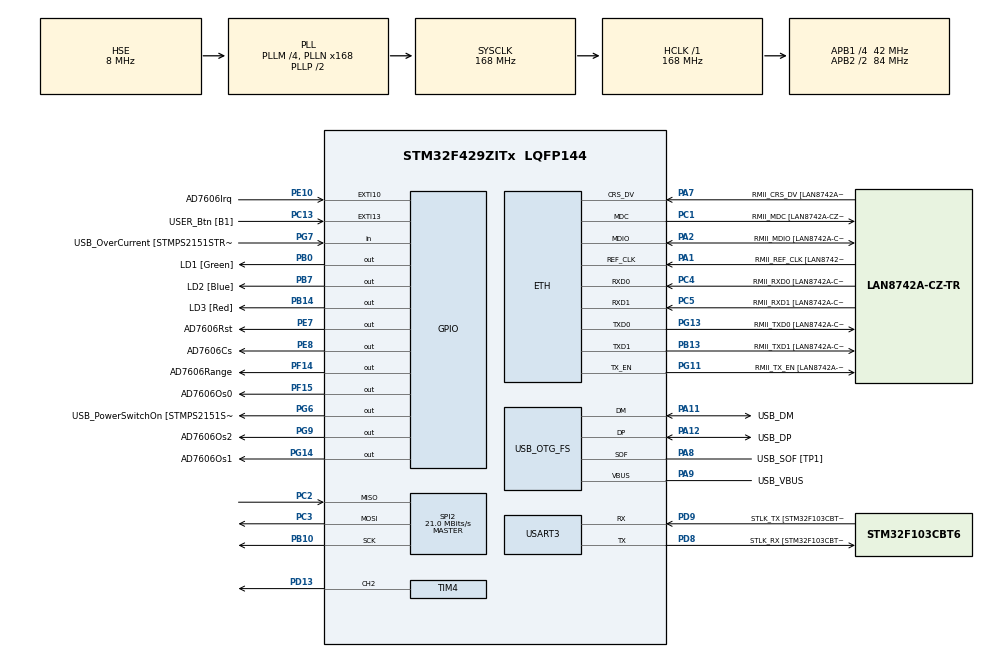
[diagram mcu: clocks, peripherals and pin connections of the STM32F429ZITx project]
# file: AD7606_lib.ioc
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ETH.MediaInterface=HAL_ETH_RMII_MODE
ETH.PHY_Name=LAN8742A_PHY_ADDRESS
ETH.PHY_Value=0
ETH.PhyAddress=0
Mcu.Family=STM32F4
Mcu.Name=STM32F429ZITx
Mcu.Package=LQFP144
NVIC.EXTI15_10_IRQn=true\:0\:0\:false\:false\:true\:true\:true\:true
NVIC.PriorityGroup=NVIC_PRIORITYGROUP_4
PA1.GPIO_Label=RMII_REF_CLK [LAN8742A-CZ-TR_REFCLK0]
PA1.Mode=RMII
PA1.Signal=ETH_REF_CLK
PA10.GPIO_Label=USB_ID
PA10.Signal=USB_OTG_FS_ID
PA11.GPIO_Label=USB_DM
PA11.Mode=Device_Only
PA11.Signal=USB_OTG_FS_DM
PA12.GPIO_Label=USB_DP
PA12.Mode=Device_Only
PA12.Signal=USB_OTG_FS_DP
PA13.GPIO_Label=TMS
PA13.Mode=Serial_Wire
PA13.Signal=SYS_JTMS-SWDIO
PA14.GPIO_Label=TCK
PA14.Mode=Serial_Wire
PA14.Signal=SYS_JTCK-SWCLK
PA2.GPIO_Label=RMII_MDIO [LAN8742A-CZ-TR_MDIO]
PA2.Mode=RMII
PA2.Signal=ETH_MDIO
PA7.GPIO_Label=RMII_CRS_DV [LAN8742A-CZ-TR_CRS_DV]
PA7.Mode=RMII
PA7.Signal=ETH_CRS_DV
PA8.GPIO_Label=USB_SOF [TP1]
PA8.Mode=Activate_SOF_FS
PA8.Signal=USB_OTG_FS_SOF
PA9.GPIO_Label=USB_VBUS
PA9.Mode=Activate_VBUS
PA9.Signal=USB_OTG_FS_VBUS
PB0.GPIO_Label=LD1 [Green]
PB0.Signal=GPIO_Output
PB10.Mode=Full_Duplex_Master
PB10.Signal=SPI2_SCK
PB13.GPIO_Label=RMII_TXD1 [LAN8742A-CZ-TR_TXD1]
PB13.Mode=RMII
PB13.Signal=ETH_TXD1
PB14.GPIO_Label=LD3 [Red]
PB14.Signal=GPIO_Output
PB7.GPIO_Label=LD2 [Blue]
PB7.Signal=GPIO_Output
PC1.GPIO_Label=RMII_MDC [LAN8742A-CZ-TR_MDC]
PC1.Mode=RMII
PC1.Signal=ETH_MDC
PC13.GPIO_Label=USER_Btn [B1]
PC13.Signal=GPXTI13
PC14/OSC32_IN.Mode=LSE-External-Oscillator
PC14/OSC32_IN.Signal=RCC_OSC32_IN
PC15/OSC32_OUT.Mode=LSE-External-Oscillator
PC15/OSC32_OUT.Signal=RCC_OSC32_OUT
PC2.Mode=Full_Duplex_Master
PC2.Signal=SPI2_MISO
PC3.Mode=Full_Duplex_Master
PC3.Signal=SPI2_MOSI
PC4.GPIO_Label=RMII_RXD0 [LAN8742A-CZ-TR_RXD0]
PC4.Mode=RMII
PC4.Signal=ETH_RXD0
PC5.GPIO_Label=RMII_RXD1 [LAN8742A-CZ-TR_RXD1]
PC5.Mode=RMII
PC5.Signal=ETH_RXD1
PD13.Signal=S_TIM4_CH2
PD8.GPIO_Label=STLK_RX [STM32F103CBT6_PA3]
PD8.Mode=Asynchronous
PD8.Signal=USART3_TX
PD9.GPIO_Label=STLK_TX [STM32F103CBT6_PA2]
PD9.Mode=Asynchronous
PD9.Signal=USART3_RX
PE10.GPIO_Label=AD7606Irq
PE10.GPIO_ModeDefaultEXTI=GPIO_MODE_IT_FALLING
PE10.GPIO_PuPd=GPIO_PULLUP
PE10.Signal=GPXTI10
PE7.GPIO_Label=AD7606Rst
PE7.Signal=GPIO_Output
PE8.GPIO_Label=AD7606Cs
PE8.Signal=GPIO_Output
PF14.GPIO_Label=AD7606Range
PF14.Signal=GPIO_Output
PF15.GPIO_Label=AD7606Os0
PF15.Signal=GPIO_Output
PG11.GPIO_Label=RMII_TX_EN [LAN8742A-CZ-TR_TXEN]
PG11.Mode=RMII
PG11.Signal=ETH_TX_EN
PG13.GPIO_Label=RMII_TXD0 [LAN8742A-CZ-TR_TXD0]
PG13.Mode=RMII
PG13.Signal=ETH_TXD0
PG14.GPIO_Label=AD7606Os1
PG14.Signal=GPIO_Output
PG6.GPIO_Label=USB_PowerSwitchOn [STMPS2151STR_EN]
PG6.Signal=GPIO_Output
PG7.GPIO_Label=USB_OverCurrent [STMPS2151STR_FAULT]
PG7.Signal=GPIO_Input
PG9.GPIO_Label=AD7606Os2
PG9.Signal=GPIO_Output
PH0/OSC_IN.GPIO_Label=MCO [STM32F103CBT6_PA8]
PH0/OSC_IN.Mode=HSE-External-Clock-Source
PH0/OSC_IN.Signal=RCC_OSC_IN
PH1/OSC_OUT.Mode=HSE-External-Clock-Source
PH1/OSC_OUT.Signal=RCC_OSC_OUT
ProjectManager.HeapSize=0x200
ProjectManager.StackSize=0x400
ProjectManager.TargetToolchain=STM32CubeIDE
RCC.48MHZClocksFreq_Value=48000000
RCC.AHBFreq_Value=168000000
RCC.APB1CLKDivider=RCC_HCLK_DIV4
RCC.APB1Freq_Value=42000000
RCC.APB1TimFreq_Value=84000000
RCC.APB2CLKDivider=RCC_HCLK_DIV2
RCC.APB2Freq_Value=84000000
RCC.APB2TimCLKDivider=2
RCC.APB2TimFreq_Value=168000000
RCC.CortexFreq_Value=168000000
RCC.HCLKFreq_Value=168000000
RCC.HSE_VALUE=8000000
RCC.HSI_VALUE=16000000
RCC.PLLM=4
RCC.PLLMUL=RCC_PLL_MUL9
RCC.PLLN=168
RCC.PLLQ=7
RCC.PRESCALERUSB=RCC_USBCLKSOURCE_PLL_DIV1_5
RCC.SYSCLKFreq_VALUE=168000000
RCC.SYSCLKSource=RCC_SYSCLKSOURCE_PLLCLK
RCC.SYSCLKSourceVirtual=RCC_SYSCLKSOURCE_PLLCLK
RCC.USBFreq_Value=48000000
RCC.VCOOutputFreq_Value=336000000
SH.S_TIM4_CH2.0=TIM4_CH2,PWM Generation2 CH2
SPI2.CLKPolarity=SPI_POLARITY_HIGH
SPI2.CalculateBaudRate=21.0 MBits/s
SPI2.DataSize=SPI_DATASIZE_16BIT
SPI2.Direction=SPI_DIRECTION_2LINES
SPI2.Mode=SPI_MODE_MASTER
SPI2.VirtualType=VM_MASTER
TIM4.Channel-PWM\ Generation2\ CH2=TIM_CHANNEL_2
TIM4.Period=100-1
TIM4.Prescaler=84-1
TIM4.Pulse-PWM\ Generation2\ CH2=99-1
USART3.VirtualMode=VM_ASYNC
USB_OTG_FS.VirtualMode=Device_Only
VP_TIM4_VS_ClockSourceINT.Mode=Internal
board=NUCLEO-F429ZI

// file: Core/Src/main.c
/* USER CODE BEGIN Header */
/**
  ******************************************************************************
  * @file           : main.c
  * @brief          : Main program body
  ******************************************************************************
  * @attention
  *
  * Copyright (c) 2024 STMicroelectronics.
  * All rights reserved.
  *
  * This software is licensed under terms that can be found in the LICENSE file
  * in the root directory of this software component.
  * If no LICENSE file comes with this software, it is provided AS-IS.
  *
  ******************************************************************************
  */
/* USER CODE END Header */
#include "main.h"
#include "string.h"

/* USER CODE BEGIN Includes */

#include "AD7606.h"

/* USER CODE END Includes */

ETH_TxPacketConfig TxConfig;
ETH_DMADescTypeDef  DMARxDscrTab[ETH_RX_DESC_CNT]; /* Ethernet Rx DMA Descriptors */
ETH_DMADescTypeDef  DMATxDscrTab[ETH_TX_DESC_CNT]; /* Ethernet Tx DMA Descriptors */

ETH_HandleTypeDef heth;

SPI_HandleTypeDef hspi2;

TIM_HandleTypeDef htim4;

UART_HandleTypeDef huart3;

PCD_HandleTypeDef hpcd_USB_OTG_FS;

/* USER CODE BEGIN PV */

uint16_t ad7606Buff[SAMPLING_CHANNEL] = {0};
float final_value[SAMPLING_CHANNEL] = {0};
uint8_t ad7606_OversamplingState = 1;
uint8_t ad7606_Range = 10;

/* USER CODE END PV */

void SystemClock_Config(void);
static void MX_GPIO_Init(void);
static void MX_ETH_Init(void);
static void MX_USART3_UART_Init(void);
static void MX_USB_OTG_FS_PCD_Init(void);
static void MX_SPI2_Init(void);
static void MX_TIM4_Init(void);

int main(void)
{

  /* MCU Configuration--------------------------------------------------------*/

  /* Reset of all peripherals, Initializes the Flash interface and the Systick. */
  HAL_Init();

  /* Configure the system clock */
  SystemClock_Config();

  /* Initialize all configured peripherals */
  MX_GPIO_Init();
  MX_ETH_Init();
  MX_USART3_UART_Init();
  MX_USB_OTG_FS_PCD_Init();
  MX_SPI2_Init();
  MX_TIM4_Init();
  /* USER CODE BEGIN 2 */

  /* ============== for debug mode =============== */
  ad7606Buff[0] = 0;
  final_value[0] = 0;
  ad7606_OversamplingState = 1;
  ad7606_Range = 10;

  AD7606Init();
  AD7606Start(&htim4, PWM_CHANNEL, ad7606_OversamplingState, ad7606_Range);

  /* USER CODE END 2 */

  /* Infinite loop */
  while (1)
  {

    /* USER CODE BEGIN 3 */

	/* Try uncomment these if you want to change oversampling rate or range in runtime */
//	AD7606SetOversampling(ad7606_OversamplingState);
//	AD7606SetRange(ad7606_Range);

  }
  /* USER CODE END 3 */
}

void SystemClock_Config(void)
{
  RCC_OscInitTypeDef RCC_OscInitStruct = {0};
  RCC_ClkInitTypeDef RCC_ClkInitStruct = {0};

  /** Configure the main internal regulator output voltage
  */
  __HAL_RCC_PWR_CLK_ENABLE();
  __HAL_PWR_VOLTAGESCALING_CONFIG(PWR_REGULATOR_VOLTAGE_SCALE1);

  /** Initializes the RCC Oscillators according to the specified parameters
  * in the RCC_OscInitTypeDef structure.
  */
  RCC_OscInitStruct.OscillatorType = RCC_OSCILLATORTYPE_HSE;
  RCC_OscInitStruct.HSEState = RCC_HSE_BYPASS;
  RCC_OscInitStruct.PLL.PLLState = RCC_PLL_ON;
  RCC_OscInitStruct.PLL.PLLSource = RCC_PLLSOURCE_HSE;
  RCC_OscInitStruct.PLL.PLLM = 4;
  RCC_OscInitStruct.PLL.PLLN = 168;
  RCC_OscInitStruct.PLL.PLLP = RCC_PLLP_DIV2;
  RCC_OscInitStruct.PLL.PLLQ = 7;
  if (HAL_RCC_OscConfig(&RCC_OscInitStruct) != HAL_OK)
  {
    Error_Handler();
  }

  /** Initializes the CPU, AHB and APB buses clocks
  */
  RCC_ClkInitStruct.ClockType = RCC_CLOCKTYPE_HCLK|RCC_CLOCKTYPE_SYSCLK
                              |RCC_CLOCKTYPE_PCLK1|RCC_CLOCKTYPE_PCLK2;
  RCC_ClkInitStruct.SYSCLKSource = RCC_SYSCLKSOURCE_PLLCLK;
  RCC_ClkInitStruct.AHBCLKDivider = RCC_SYSCLK_DIV1;
  RCC_ClkInitStruct.APB1CLKDivider = RCC_HCLK_DIV4;
  RCC_ClkInitStruct.APB2CLKDivider = RCC_HCLK_DIV2;

  if (HAL_RCC_ClockConfig(&RCC_ClkInitStruct, FLASH_LATENCY_5) != HAL_OK)
  {
    Error_Handler();
  }
}

static void MX_ETH_Init(void)
{

   static uint8_t MACAddr[6];

  heth.Instance = ETH;
  MACAddr[0] = 0x00;
  MACAddr[1] = 0x80;
  MACAddr[2] = 0xE1;
  MACAddr[3] = 0x00;
  MACAddr[4] = 0x00;
  MACAddr[5] = 0x00;
  heth.Init.MACAddr = &MACAddr[0];
  heth.Init.MediaInterface = HAL_ETH_RMII_MODE;
  heth.Init.TxDesc = DMATxDscrTab;
  heth.Init.RxDesc = DMARxDscrTab;
  heth.Init.RxBuffLen = 1524;

  if (HAL_ETH_Init(&heth) != HAL_OK)
  {
    Error_Handler();
  }

  memset(&TxConfig, 0 , sizeof(ETH_TxPacketConfig));
  TxConfig.Attributes = ETH_TX_PACKETS_FEATURES_CSUM | ETH_TX_PACKETS_FEATURES_CRCPAD;
  TxConfig.ChecksumCtrl = ETH_CHECKSUM_IPHDR_PAYLOAD_INSERT_PHDR_CALC;
  TxConfig.CRCPadCtrl = ETH_CRC_PAD_INSERT;

}

static void MX_SPI2_Init(void)
{

  /* SPI2 parameter configuration*/
  hspi2.Instance = SPI2;
  hspi2.Init.Mode = SPI_MODE_MASTER;
  hspi2.Init.Direction = SPI_DIRECTION_2LINES;
  hspi2.Init.DataSize = SPI_DATASIZE_16BIT;
  hspi2.Init.CLKPolarity = SPI_POLARITY_HIGH;
  hspi2.Init.CLKPhase = SPI_PHASE_1EDGE;
  hspi2.Init.NSS = SPI_NSS_SOFT;
  hspi2.Init.BaudRatePrescaler = SPI_BAUDRATEPRESCALER_2;
  hspi2.Init.FirstBit = SPI_FIRSTBIT_MSB;
  hspi2.Init.TIMode = SPI_TIMODE_DISABLE;
  hspi2.Init.CRCCalculation = SPI_CRCCALCULATION_DISABLE;
  hspi2.Init.CRCPolynomial = 10;
  if (HAL_SPI_Init(&hspi2) != HAL_OK)
  {
    Error_Handler();
  }

}

static void MX_TIM4_Init(void)
{

  TIM_ClockConfigTypeDef sClockSourceConfig = {0};
  TIM_MasterConfigTypeDef sMasterConfig = {0};
  TIM_OC_InitTypeDef sConfigOC = {0};

  htim4.Instance = TIM4;
  htim4.Init.Prescaler = 84-1;
  htim4.Init.CounterMode = TIM_COUNTERMODE_UP;
  htim4.Init.Period = 100-1;
  htim4.Init.ClockDivision = TIM_CLOCKDIVISION_DIV1;
  htim4.Init.AutoReloadPreload = TIM_AUTORELOAD_PRELOAD_DISABLE;
  if (HAL_TIM_Base_Init(&htim4) != HAL_OK)
  {
    Error_Handler();
  }
  sClockSourceConfig.ClockSource = TIM_CLOCKSOURCE_INTERNAL;
  if (HAL_TIM_ConfigClockSource(&htim4, &sClockSourceConfig) != HAL_OK)
  {
    Error_Handler();
  }
  if (HAL_TIM_PWM_Init(&htim4) != HAL_OK)
  {
    Error_Handler();
  }
  sMasterConfig.MasterOutputTrigger = TIM_TRGO_RESET;
  sMasterConfig.MasterSlaveMode = TIM_MASTERSLAVEMODE_DISABLE;
  if (HAL_TIMEx_MasterConfigSynchronization(&htim4, &sMasterConfig) != HAL_OK)
  {
    Error_Handler();
  }
  sConfigOC.OCMode = TIM_OCMODE_PWM1;
  sConfigOC.Pulse = 99-1;
  sConfigOC.OCPolarity = TIM_OCPOLARITY_HIGH;
  sConfigOC.OCFastMode = TIM_OCFAST_DISABLE;
  if (HAL_TIM_PWM_ConfigChannel(&htim4, &sConfigOC, TIM_CHANNEL_2) != HAL_OK)
  {
    Error_Handler();
  }
  HAL_TIM_MspPostInit(&htim4);

}

static void MX_USART3_UART_Init(void)
{

  huart3.Instance = USART3;
  huart3.Init.BaudRate = 115200;
  huart3.Init.WordLength = UART_WORDLENGTH_8B;
  huart3.Init.StopBits = UART_STOPBITS_1;
  huart3.Init.Parity = UART_PARITY_NONE;
  huart3.Init.Mode = UART_MODE_TX_RX;
  huart3.Init.HwFlowCtl = UART_HWCONTROL_NONE;
  huart3.Init.OverSampling = UART_OVERSAMPLING_16;
  if (HAL_UART_Init(&huart3) != HAL_OK)
  {
    Error_Handler();
  }

}

static void MX_USB_OTG_FS_PCD_Init(void)
{

  hpcd_USB_OTG_FS.Instance = USB_OTG_FS;
  hpcd_USB_OTG_FS.Init.dev_endpoints = 4;
  hpcd_USB_OTG_FS.Init.speed = PCD_SPEED_FULL;
  hpcd_USB_OTG_FS.Init.dma_enable = DISABLE;
  hpcd_USB_OTG_FS.Init.phy_itface = PCD_PHY_EMBEDDED;
  hpcd_USB_OTG_FS.Init.Sof_enable = ENABLE;
  hpcd_USB_OTG_FS.Init.low_power_enable = DISABLE;
  hpcd_USB_OTG_FS.Init.lpm_enable = DISABLE;
  hpcd_USB_OTG_FS.Init.vbus_sensing_enable = ENABLE;
  hpcd_USB_OTG_FS.Init.use_dedicated_ep1 = DISABLE;
  if (HAL_PCD_Init(&hpcd_USB_OTG_FS) != HAL_OK)
  {
    Error_Handler();
  }

}

static void MX_GPIO_Init(void)
{
  GPIO_InitTypeDef GPIO_InitStruct = {0};

  /* GPIO Ports Clock Enable */
  __HAL_RCC_GPIOC_CLK_ENABLE();
  __HAL_RCC_GPIOH_CLK_ENABLE();
  __HAL_RCC_GPIOA_CLK_ENABLE();
  __HAL_RCC_GPIOB_CLK_ENABLE();
  __HAL_RCC_GPIOF_CLK_ENABLE();
  __HAL_RCC_GPIOE_CLK_ENABLE();
  __HAL_RCC_GPIOD_CLK_ENABLE();
  __HAL_RCC_GPIOG_CLK_ENABLE();

  /*Configure GPIO pin Output Level */
  HAL_GPIO_WritePin(GPIOB, LD1_Pin|LD3_Pin|LD2_Pin, GPIO_PIN_RESET);

  /*Configure GPIO pin Output Level */
  HAL_GPIO_WritePin(GPIOF, AD7606Range_Pin|AD7606Os0_Pin, GPIO_PIN_RESET);

  /*Configure GPIO pin Output Level */
  HAL_GPIO_WritePin(GPIOE, AD7606Rst_Pin|AD7606Cs_Pin, GPIO_PIN_RESET);

  /*Configure GPIO pin Output Level */
  HAL_GPIO_WritePin(GPIOG, USB_PowerSwitchOn_Pin|AD7606Os2_Pin|AD7606Os1_Pin, GPIO_PIN_RESET);

  /*Configure GPIO pin : USER_Btn_Pin */
  GPIO_InitStruct.Pin = USER_Btn_Pin;
  GPIO_InitStruct.Mode = GPIO_MODE_IT_RISING;
  GPIO_InitStruct.Pull = GPIO_NOPULL;
  HAL_GPIO_Init(USER_Btn_GPIO_Port, &GPIO_InitStruct);

  /*Configure GPIO pins : LD1_Pin LD3_Pin LD2_Pin */
  GPIO_InitStruct.Pin = LD1_Pin|LD3_Pin|LD2_Pin;
  GPIO_InitStruct.Mode = GPIO_MODE_OUTPUT_PP;
  GPIO_InitStruct.Pull = GPIO_NOPULL;
  GPIO_InitStruct.Speed = GPIO_SPEED_FREQ_LOW;
  HAL_GPIO_Init(GPIOB, &GPIO_InitStruct);

  /*Configure GPIO pins : AD7606Range_Pin AD7606Os0_Pin */
  GPIO_InitStruct.Pin = AD7606Range_Pin|AD7606Os0_Pin;
  GPIO_InitStruct.Mode = GPIO_MODE_OUTPUT_PP;
  GPIO_InitStruct.Pull = GPIO_NOPULL;
  GPIO_InitStruct.Speed = GPIO_SPEED_FREQ_LOW;
  HAL_GPIO_Init(GPIOF, &GPIO_InitStruct);

  /*Configure GPIO pins : AD7606Rst_Pin AD7606Cs_Pin */
  GPIO_InitStruct.Pin = AD7606Rst_Pin|AD7606Cs_Pin;
  GPIO_InitStruct.Mode = GPIO_MODE_OUTPUT_PP;
  GPIO_InitStruct.Pull = GPIO_NOPULL;
  GPIO_InitStruct.Speed = GPIO_SPEED_FREQ_LOW;
  HAL_GPIO_Init(GPIOE, &GPIO_InitStruct);

  /*Configure GPIO pin : AD7606Irq_Pin */
  GPIO_InitStruct.Pin = AD7606Irq_Pin;
  GPIO_InitStruct.Mode = GPIO_MODE_IT_FALLING;
  GPIO_InitStruct.Pull = GPIO_PULLUP;
  HAL_GPIO_Init(AD7606Irq_GPIO_Port, &GPIO_InitStruct);

  /*Configure GPIO pins : USB_PowerSwitchOn_Pin AD7606Os2_Pin AD7606Os1_Pin */
  GPIO_InitStruct.Pin = USB_PowerSwitchOn_Pin|AD7606Os2_Pin|AD7606Os1_Pin;
  GPIO_InitStruct.Mode = GPIO_MODE_OUTPUT_PP;
  GPIO_InitStruct.Pull = GPIO_NOPULL;
  GPIO_InitStruct.Speed = GPIO_SPEED_FREQ_LOW;
  HAL_GPIO_Init(GPIOG, &GPIO_InitStruct);

  /*Configure GPIO pin : USB_OverCurrent_Pin */
  GPIO_InitStruct.Pin = USB_OverCurrent_Pin;
  GPIO_InitStruct.Mode = GPIO_MODE_INPUT;
  GPIO_InitStruct.Pull = GPIO_NOPULL;
  HAL_GPIO_Init(USB_OverCurrent_GPIO_Port, &GPIO_InitStruct);

  /* EXTI interrupt init*/
  HAL_NVIC_SetPriority(EXTI15_10_IRQn, 0, 0);
  HAL_NVIC_EnableIRQ(EXTI15_10_IRQn);

}

/* USER CODE BEGIN 4 */

void HAL_GPIO_EXTI_Callback(uint16_t GPIO_Pin)
{
	if(GPIO_Pin == AD7606Irq_Pin){
		AD7606BusyIrqCallback(ad7606Buff, SAMPLING_CHANNEL, &hspi2);	//get value
	}
	for(int i = 0; i < 8; i++){
		final_value[i] = AD7606ConvValue(ad7606Buff[i], ad7606_Range);	//convert into voltage
	}
}

/* USER CODE END 4 */

void Error_Handler(void)
{
  __disable_irq();
  while (1)
  {
  }
}
